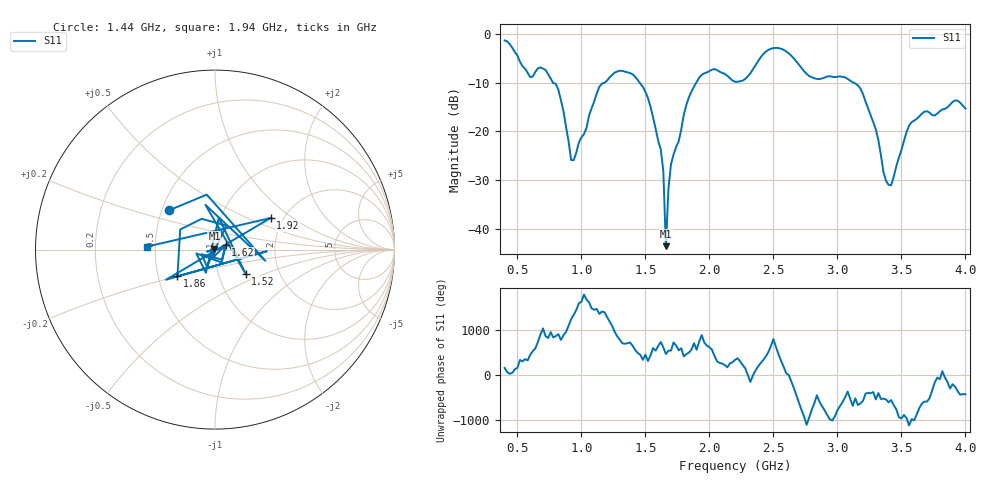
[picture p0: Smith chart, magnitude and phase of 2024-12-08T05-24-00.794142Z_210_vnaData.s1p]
!Created with skrf (http://scikit-rf.org).
# Hz S RI R 50.0
!freq ReS11 ImS11
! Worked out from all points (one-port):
!   181 points, 400 MHz to 4 GHz, reference 50 ohm
!   lowest |S11| = -43.6 dB at 1.66 GHz (marker M1), VSWR 1.01, Z = 49.7 + j0.585 ohm
!   |S11| at or under -10 dB: 778.1 MHz to 1.18 GHz (402.1 MHz wide, 41.1 % of centre); 1.455 GHz to 1.898 GHz (442.5 MHz wide, 26.4 % of centre); 3.127 GHz to end of sweep
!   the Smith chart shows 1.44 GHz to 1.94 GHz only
!   S11 on the Smith chart (normalised r, x): 1.44 GHz: 0.54, +0.27; 1.52 GHz: 1.35, -0.39; 1.62 GHz: 1.13, +0.06; 1.86 GHz: 0.63, -0.20; 1.92 GHz: 1.72, +0.69; 1.94 GHz: 0.45, +0.02
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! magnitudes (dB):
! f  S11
! 400 MHz  -1.3
! 600 MHz  -8.9
! 720 MHz  -7.4
! 860 MHz  -15.9
! 920 MHz  -25.9
! 940 MHz  -25.9
! 1.14 GHz  -10.9
! 1.3 GHz  -7.5
! 1.44 GHz  -9.4
! 1.52 GHz  -13.2
! 1.62 GHz  -23.7
! 1.64 GHz  -28.2
! 1.66 GHz  -43.6
! 1.68 GHz  -31.8
! 1.7 GHz  -26.8
! 1.76 GHz  -22.0
! 1.86 GHz  -11.8
! 1.92 GHz  -9.0
! 1.94 GHz  -8.4
! 2.2 GHz  -9.8
! 2.48 GHz  -3.0
! 2.66 GHz  -5.0
! 2.8 GHz  -8.9
! 3.1 GHz  -9.6
! 3.2 GHz  -12.4
! 3.4 GHz  -31.0
! 3.56 GHz  -18.8
! 4 GHz  -15.3
